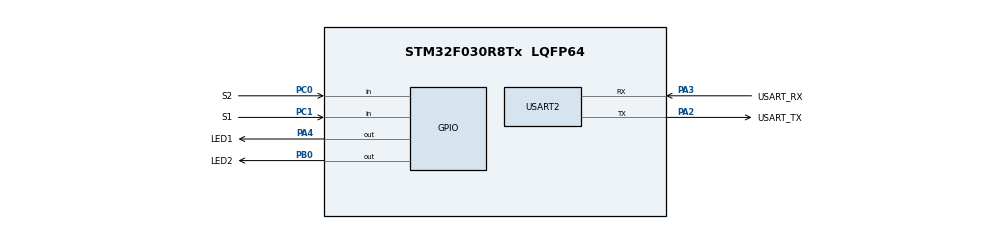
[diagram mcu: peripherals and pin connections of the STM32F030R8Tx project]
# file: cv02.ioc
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Mcu.Family=STM32F0
Mcu.Name=STM32F030R8Tx
Mcu.Package=LQFP64
PA13.GPIO_Label=TMS
PA13.Mode=Serial_Wire
PA13.Signal=SYS_SWDIO
PA14.GPIO_Label=TCK
PA14.Mode=Serial_Wire
PA14.Signal=SYS_SWCLK
PA2.GPIO_Label=USART_TX
PA2.GPIO_Mode=GPIO_MODE_AF_PP
PA2.GPIO_PuPd=GPIO_NOPULL
PA2.GPIO_Speed=GPIO_SPEED_FREQ_LOW
PA2.Mode=Asynchronous
PA2.Signal=USART2_TX
PA3.GPIO_Label=USART_RX
PA3.GPIO_Mode=GPIO_MODE_AF_PP
PA3.GPIO_PuPd=GPIO_NOPULL
PA3.GPIO_Speed=GPIO_SPEED_FREQ_LOW
PA3.Mode=Asynchronous
PA3.Signal=USART2_RX
PA4.GPIO_Label=LED1 
PA4.Signal=GPIO_Output
PB0.GPIO_Label=LED2
PB0.Signal=GPIO_Output
PC0.GPIO_Label=S2
PC0.Signal=GPIO_Input
PC1.GPIO_Label=S1
PC1.GPIO_PuPd=GPIO_PULLUP
PC1.Signal=GPIO_Input
PC14-OSC32_IN.Mode=LSE-External-Oscillator
PC14-OSC32_IN.Signal=RCC_OSC32_IN
PC15-OSC32_OUT.Mode=LSE-External-Oscillator
PC15-OSC32_OUT.Signal=RCC_OSC32_OUT
PF0-OSC_IN.Mode=HSE-External-Clock-Source
PF0-OSC_IN.Signal=RCC_OSC_IN
PF1-OSC_OUT.Signal=RCC_OSC_OUT
ProjectManager.HeapSize=0x200
ProjectManager.StackSize=0x400
ProjectManager.TargetToolchain=STM32CubeIDE
RCC.AHBFreq_Value=48000000
RCC.APB1Freq_Value=48000000
RCC.APB1TimFreq_Value=48000000
RCC.HCLKFreq_Value=48000000
RCC.PLLMUL=RCC_PLL_MUL12
RCC.SYSCLKFreq_VALUE=48000000
RCC.SYSCLKSource=RCC_SYSCLKSOURCE_PLLCLK
USART2.VirtualMode-Asynchronous=VM_ASYNC
board=NUCLEO-F030R8

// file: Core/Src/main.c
/* USER CODE BEGIN Header */
/**
  ******************************************************************************
  * @file           : main.c
  * @brief          : Main program body
  ******************************************************************************
  * @attention
  *
  * Copyright (c) 2025 STMicroelectronics.
  * All rights reserved.
  *
  * This software is licensed under terms that can be found in the LICENSE file
  * in the root directory of this software component.
  * If no LICENSE file comes with this software, it is provided AS-IS.
  *
  ******************************************************************************
  */
/* USER CODE END Header */
#include "main.h"

/* USER CODE BEGIN PD */
#define LED_TIME_BLINK 300
#define LED_TIME_LONG 1000
#define LED_TIME_SHORT 100
#define BUTTON_DEBOUNCE_TIME 40
#define BIT_ROT_DELAY	5
/* USER CODE END PD */

/* USER CODE BEGIN PV */
volatile uint32_t Tick;
/* USER CODE END PV */

void SystemClock_Config(void);
static void MX_GPIO_Init(void);
static void MX_USART2_UART_Init(void);

/* USER CODE BEGIN 0 */
void blink(void)
{
	static uint32_t delay;

	if (Tick > delay + LED_TIME_BLINK) {
		LL_GPIO_TogglePin(LED1_GPIO_Port,LED1_Pin);
		delay = Tick;
	}
}

void button(void){

	static uint32_t off_time;
	if (Tick > off_time) {
		LL_GPIO_ResetOutputPin(LED2_GPIO_Port, LED2_Pin);
	}

	static uint16_t debounce = 0xFFFF;
	static uint32_t buttonDelay_s1;

	if (Tick > buttonDelay_s1 + BIT_ROT_DELAY){
		debounce = (debounce << 1) | (LL_GPIO_IsInputPinSet(S1_GPIO_Port, S1_Pin) ? 1 : 0);
		if (debounce == 0x7FFF)
		{
			off_time = Tick + LED_TIME_LONG;
			LL_GPIO_SetOutputPin(LED2_GPIO_Port, LED2_Pin);
		}
	}

	static uint32_t buttonDelay;
	//static uint32_t old_s1;
	static uint32_t old_s2;
	//uint32_t new_s1 = LL_GPIO_IsInputPinSet(S1_GPIO_Port, S1_Pin);
	uint32_t new_s2 = LL_GPIO_IsInputPinSet(S2_GPIO_Port, S2_Pin);

	if (Tick > buttonDelay + BUTTON_DEBOUNCE_TIME){
		//if (old_s1 && !new_s1) {
		//	off_time = Tick + LED_TIME_LONG;
		//	LL_GPIO_SetOutputPin(LED2_GPIO_Port, LED2_Pin);
		//  buttonDelay = Tick;
		//}

		if (old_s2 && !new_s2) {
			off_time = Tick + LED_TIME_SHORT;
			LL_GPIO_SetOutputPin(LED2_GPIO_Port, LED2_Pin);
			buttonDelay = Tick;
		}

		old_s2 = new_s2;
		//old_s1 = new_s1;

	}
}

/* USER CODE END 0 */

int main(void)
{

  /* MCU Configuration--------------------------------------------------------*/

  /* Reset of all peripherals, Initializes the Flash interface and the Systick. */
  LL_APB1_GRP2_EnableClock(LL_APB1_GRP2_PERIPH_SYSCFG);
  LL_APB1_GRP1_EnableClock(LL_APB1_GRP1_PERIPH_PWR);

  /* Configure the system clock */
  SystemClock_Config();

  /* Initialize all configured peripherals */
  MX_GPIO_Init();
  MX_USART2_UART_Init();
  /* USER CODE BEGIN 2 */
  LL_SYSTICK_EnableIT();
  /* USER CODE END 2 */

  /* Infinite loop */
  while (1)
  {
	  blink();
	  button();
  }
}

void SystemClock_Config(void)
{
  LL_FLASH_SetLatency(LL_FLASH_LATENCY_1);
  while(LL_FLASH_GetLatency() != LL_FLASH_LATENCY_1)
  {
  }
  LL_RCC_HSI_Enable();

   /* Wait till HSI is ready */
  while(LL_RCC_HSI_IsReady() != 1)
  {

  }
  LL_RCC_HSI_SetCalibTrimming(16);
  LL_RCC_PLL_ConfigDomain_SYS(LL_RCC_PLLSOURCE_HSI_DIV_2, LL_RCC_PLL_MUL_12);
  LL_RCC_PLL_Enable();

   /* Wait till PLL is ready */
  while(LL_RCC_PLL_IsReady() != 1)
  {

  }
  LL_RCC_SetAHBPrescaler(LL_RCC_SYSCLK_DIV_1);
  LL_RCC_SetAPB1Prescaler(LL_RCC_APB1_DIV_1);
  LL_RCC_SetSysClkSource(LL_RCC_SYS_CLKSOURCE_PLL);

   /* Wait till System clock is ready */
  while(LL_RCC_GetSysClkSource() != LL_RCC_SYS_CLKSOURCE_STATUS_PLL)
  {

  }
  LL_Init1msTick(48000000);
  LL_SetSystemCoreClock(48000000);
}

static void MX_USART2_UART_Init(void)
{

  LL_USART_InitTypeDef USART_InitStruct = {0};

  LL_GPIO_InitTypeDef GPIO_InitStruct = {0};

  /* Peripheral clock enable */
  LL_APB1_GRP1_EnableClock(LL_APB1_GRP1_PERIPH_USART2);

  LL_AHB1_GRP1_EnableClock(LL_AHB1_GRP1_PERIPH_GPIOA);
  /**USART2 GPIO Configuration
  PA2   ------> USART2_TX
  PA3   ------> USART2_RX
  */
  GPIO_InitStruct.Pin = USART_TX_Pin;
  GPIO_InitStruct.Mode = LL_GPIO_MODE_ALTERNATE;
  GPIO_InitStruct.Speed = LL_GPIO_SPEED_FREQ_LOW;
  GPIO_InitStruct.OutputType = LL_GPIO_OUTPUT_PUSHPULL;
  GPIO_InitStruct.Pull = LL_GPIO_PULL_NO;
  GPIO_InitStruct.Alternate = LL_GPIO_AF_1;
  LL_GPIO_Init(USART_TX_GPIO_Port, &GPIO_InitStruct);

  GPIO_InitStruct.Pin = USART_RX_Pin;
  GPIO_InitStruct.Mode = LL_GPIO_MODE_ALTERNATE;
  GPIO_InitStruct.Speed = LL_GPIO_SPEED_FREQ_LOW;
  GPIO_InitStruct.OutputType = LL_GPIO_OUTPUT_PUSHPULL;
  GPIO_InitStruct.Pull = LL_GPIO_PULL_NO;
  GPIO_InitStruct.Alternate = LL_GPIO_AF_1;
  LL_GPIO_Init(USART_RX_GPIO_Port, &GPIO_InitStruct);

  USART_InitStruct.BaudRate = 38400;
  USART_InitStruct.DataWidth = LL_USART_DATAWIDTH_8B;
  USART_InitStruct.StopBits = LL_USART_STOPBITS_1;
  USART_InitStruct.Parity = LL_USART_PARITY_NONE;
  USART_InitStruct.TransferDirection = LL_USART_DIRECTION_TX_RX;
  USART_InitStruct.HardwareFlowControl = LL_USART_HWCONTROL_NONE;
  USART_InitStruct.OverSampling = LL_USART_OVERSAMPLING_16;
  LL_USART_Init(USART2, &USART_InitStruct);
  LL_USART_DisableIT_CTS(USART2);
  LL_USART_ConfigAsyncMode(USART2);
  LL_USART_Enable(USART2);

}

static void MX_GPIO_Init(void)
{
  LL_GPIO_InitTypeDef GPIO_InitStruct = {0};

  /* GPIO Ports Clock Enable */
  LL_AHB1_GRP1_EnableClock(LL_AHB1_GRP1_PERIPH_GPIOC);
  LL_AHB1_GRP1_EnableClock(LL_AHB1_GRP1_PERIPH_GPIOF);
  LL_AHB1_GRP1_EnableClock(LL_AHB1_GRP1_PERIPH_GPIOA);
  LL_AHB1_GRP1_EnableClock(LL_AHB1_GRP1_PERIPH_GPIOB);

  /**/
  LL_GPIO_ResetOutputPin(LED1_GPIO_Port, LED1_Pin);

  /**/
  LL_GPIO_ResetOutputPin(LED2_GPIO_Port, LED2_Pin);

  /**/
  GPIO_InitStruct.Pin = S2_Pin;
  GPIO_InitStruct.Mode = LL_GPIO_MODE_INPUT;
  GPIO_InitStruct.Pull = LL_GPIO_PULL_NO;
  LL_GPIO_Init(S2_GPIO_Port, &GPIO_InitStruct);

  /**/
  GPIO_InitStruct.Pin = S1_Pin;
  GPIO_InitStruct.Mode = LL_GPIO_MODE_INPUT;
  GPIO_InitStruct.Pull = LL_GPIO_PULL_UP;
  LL_GPIO_Init(S1_GPIO_Port, &GPIO_InitStruct);

  /**/
  GPIO_InitStruct.Pin = LED1_Pin;
  GPIO_InitStruct.Mode = LL_GPIO_MODE_OUTPUT;
  GPIO_InitStruct.Speed = LL_GPIO_SPEED_FREQ_LOW;
  GPIO_InitStruct.OutputType = LL_GPIO_OUTPUT_PUSHPULL;
  GPIO_InitStruct.Pull = LL_GPIO_PULL_NO;
  LL_GPIO_Init(LED1_GPIO_Port, &GPIO_InitStruct);

  /**/
  GPIO_InitStruct.Pin = LED2_Pin;
  GPIO_InitStruct.Mode = LL_GPIO_MODE_OUTPUT;
  GPIO_InitStruct.Speed = LL_GPIO_SPEED_FREQ_LOW;
  GPIO_InitStruct.OutputType = LL_GPIO_OUTPUT_PUSHPULL;
  GPIO_InitStruct.Pull = LL_GPIO_PULL_NO;
  LL_GPIO_Init(LED2_GPIO_Port, &GPIO_InitStruct);

}

void Error_Handler(void)
{
  __disable_irq();
  while (1)
  {
  }
}
